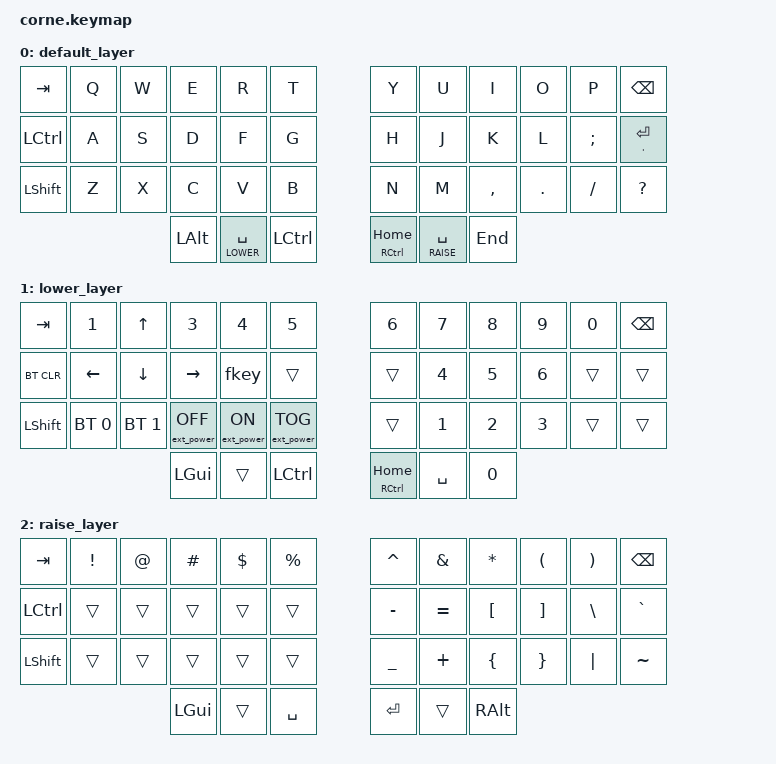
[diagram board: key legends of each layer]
/*
 * Copyright (c) 2020 The ZMK Contributors
 *
 * SPDX-License-Identifier: MIT
 */

#include <behaviors.dtsi>
#include <dt-bindings/zmk/keys.h>
#include <dt-bindings/zmk/bt.h>
#include <dt-bindings/zmk/ext_power.h>

#define DEFAULT 0
#define LOWER   1
#define RAISE   2

/ {
        macros {
                fkey: fkey {
                        compatible = "zmk,behavior-macro";
                        #binding-cells = <0>;
                        bindings
                                = <&macro_tap &kp Z &kp M &kp K>
                                ;
                };
        };

        combos {
                compatible = "zmk,combos";
                combo_esc {
                        timeout-ms = <50>; //time to activate bindings
                        key-positions = <0 1>; //triggers
                        bindings = <&kp ESC>; //resolutions
                };
                ext_power_on {
                        timeout-ms = <100>; //time to activate bindings
                        key-positions = <4 5 38>; //triggers
                        bindings = <&ext_power EP_ON>; //resolutions
                };
                ext_power_off {
                        timeout-ms = <100>; //time to activate bindings
                        key-positions = <16 17 38>; //triggers
                        bindings = <&ext_power EP_OFF>; //resolutions
                };
                ext_power_on_right {
                        timeout-ms = <100>; //time to activate bindings
                        key-positions = <6 7 39>; //triggers
                        bindings = <&ext_power EP_ON>; //resolutions
                };
                ext_power_off_right {
                        timeout-ms = <100>; //time to activate bindings
                        key-positions = <18 19 39>; //triggers
                        bindings = <&ext_power EP_OFF>; //resolutions
                };
        };

        behaviors {
                klht: key_layer_hold_tap {
                        compatible = "zmk,behavior-hold-tap";
                        #binding-cells = <2>; //keys 
                        flavor = "tap-unless-interrupted"; //only hold when tap another
                        tapping-term-ms = <1000>; //hold time
                        quick-tap-ms = <150>; //tap&hold quick to use tap kp
                        require-prior-idle-ms = <100>; //tap if last tap is <125
                        bindings = <&mo>, <&kp>; //momentary layer and key
                };
                bht: behavior_hold_tap {
                        compatible = "zmk,behavior-hold-tap";
                        #binding-cells = <2>; //keys 
                        flavor = "tap-preferred"; //only hold when tap another
                        tapping-term-ms = <300>; //hold time
                        quick-tap-ms = <150>; //tap&hold quick to use tap kp
                        // require-prior-idle-ms = <100>; //tap if last tap is <125
                        bindings = <&kp>, <&kp>; // hold and tap
                };
        };

        keymap {
                compatible = "zmk,keymap";

                default_layer {
// -----------------------------------------------------------------------------------------
// |  TAB 0 |  Q 1  |  W 2  |  E 3  |  R 4  |  T 5  |   |  Y 6  |  U 7   |  I 8  |  O 9  |  P 10  | BKSP 11 |
// | CAPS 12 |  A 13  |  S 14  |  D 15  |  F 16  |  G 17  |   |  H 18  |  J 19   |  K 20  |  L 21  |  ; 22  |  ' 23   |
// | SHFT 24 |  Z 25 |  X 26  |  C 27  |  V 28  |  B 29  |   |  N 30  |  M 31   |  , 32  |  . 33  |  / 34  | ESC 35  |
//                    | LALT 36 | LWR SPC 37 | SPC 38 |   | ENT 39 | RSE 40  | ALT 41 |
                        bindings = <
   &kp TAB   &kp Q &kp W &kp E &kp R &kp T   &kp Y &kp U  &kp I     &kp O   &kp P    &kp BSPC
   &kp LCTRL &kp A &kp S &kp D &kp F &kp G   &kp H &kp J  &kp K     &kp L   &kp SEMI &bht SQT ENTER
   &kp LSHFT &kp Z &kp X &kp C &kp V &kp B   &kp N &kp M  &kp COMMA &kp DOT &kp FSLH &kp QMARK
                  &kp LALT &klht LOWER SPACE &kp LCTRL   &bht RCTRL HOME &klht RAISE SPACE &kp END
                        >;
                };
                lower_layer {
// -----------------------------------------------------------------------------------------
// |  TAB |  1  |  UP  |  3  |  4  |  5  |   |  6  |  7  |  8  |  9  |  0  | BKSP |
// | BTCLR| LEFT | DOWN | RIGHT | FKEY | BT5 |   | LFT | DWN |  UP | RGT |     |      |
// | SHFT | BT SEL 0  | BT SEL 1 |     |     |     |   |     |     |     |     |     |      |
//                    | GUI |     | SPC |   | ENT |     | ALT |
                        bindings = <
   &kp TAB &kp N1 &kp UP &kp N3 &kp N4 &kp N5         &kp N6 &kp N7 &kp N8 &kp N9 &kp N0 &kp BSPC
   &bt BT_CLR &kp LEFT &kp DOWN &kp RIGHT &fkey &trans   &trans &kp N4 &kp N5 &kp N6 &trans &trans
   &kp LSHFT &bt BT_SEL 0 &bt BT_SEL 1 &ext_power EP_OFF &ext_power EP_ON &ext_power EP_TOG    &trans &kp N1 &kp N2 &kp N3 &trans &trans
                      &kp LGUI &trans &kp LCTRL      &bht RCTRL HOME &kp SPACE &kp N0
                        >;
                };

                raise_layer {
// -----------------------------------------------------------------------------------------
// |  TAB |  !  |  @  |  #  |  $  |  %  |   |  ^  |  &  |  *  |  (  |  )  | BKSP |
// | CTRL |     |     |     |     |     |   |  -  |  =  |  [  |  ]  |  \  |  `   |
// | SHFT |     |     |     |     |     |   |  _  |  +  |  {  |  }  | "|" |  ~   |
//                    | GUI |     | SPC |   | ENT |     | ALT |
                        bindings = <
   &kp  TAB  &kp EXCL &kp AT &kp HASH &kp DLLR &kp PRCNT   &kp CARET &kp AMPS  &kp ASTRK &kp LPAR &kp RPAR &kp BSPC
   &kp LCTRL &trans   &trans &trans   &trans   &trans      &kp MINUS &kp EQUAL &kp LBKT  &kp RBKT &kp BSLH &kp GRAVE
   &kp LSHFT &trans   &trans &trans   &trans   &trans      &kp UNDER &kp PLUS  &kp LBRC  &kp RBRC &kp PIPE &kp TILDE
                             &kp LGUI &trans   &kp SPACE   &kp RET   &trans    &kp RALT
                        >;
                };
        };
};
